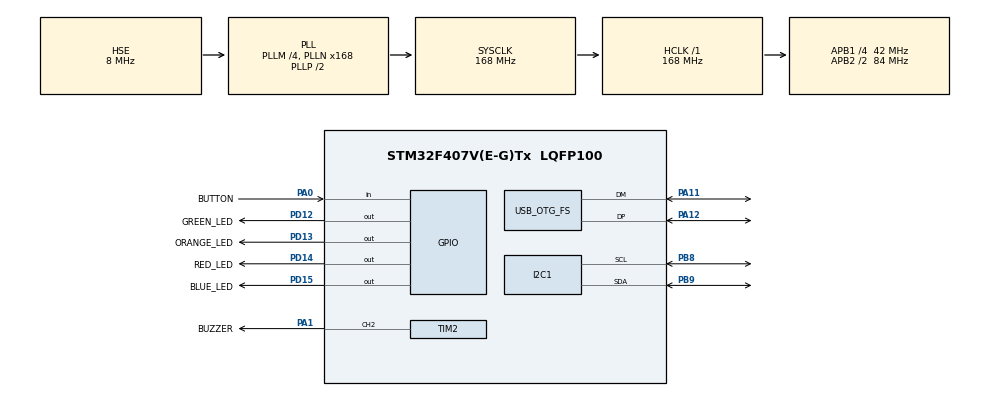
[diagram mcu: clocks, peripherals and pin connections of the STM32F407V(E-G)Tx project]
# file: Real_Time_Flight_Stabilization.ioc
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Mcu.Family=STM32F4
Mcu.Name=STM32F407V(E-G)Tx
Mcu.Package=LQFP100
NVIC.OTG_FS_IRQn=true\:0\:0\:false\:false\:true\:false\:true\:true
NVIC.PriorityGroup=NVIC_PRIORITYGROUP_0
NVIC.RCC_IRQn=true\:0\:0\:false\:false\:true\:true\:false\:true
NVIC.TIM6_DAC_IRQn=true\:0\:0\:false\:false\:true\:true\:true\:true
PA0-WKUP.GPIO_Label=BUTTON
PA0-WKUP.Signal=GPIO_Input
PA1.GPIO_Label=BUZZER
PA1.Signal=S_TIM2_CH2
PA11.Mode=Device_Only
PA11.Signal=USB_OTG_FS_DM
PA12.Mode=Device_Only
PA12.Signal=USB_OTG_FS_DP
PA13.GPIO_Label=SWDIO
PA13.Mode=Serial_Wire
PA13.Signal=SYS_JTMS-SWDIO
PA14.GPIO_Label=SWCLK
PA14.Mode=Serial_Wire
PA14.Signal=SYS_JTCK-SWCLK
PB8.Mode=I2C
PB8.Signal=I2C1_SCL
PB9.Mode=I2C
PB9.Signal=I2C1_SDA
PD12.GPIO_Label=GREEN_LED
PD12.Signal=GPIO_Output
PD13.GPIO_Label=ORANGE_LED
PD13.Signal=GPIO_Output
PD14.GPIO_Label=RED_LED
PD14.Signal=GPIO_Output
PD15.GPIO_Label=BLUE_LED
PD15.Signal=GPIO_Output
PH0-OSC_IN.GPIO_Label=OSC_IN
PH0-OSC_IN.Mode=HSE-External-Oscillator
PH0-OSC_IN.Signal=RCC_OSC_IN
PH1-OSC_OUT.GPIO_Label=OSC_OUT
PH1-OSC_OUT.Mode=HSE-External-Oscillator
PH1-OSC_OUT.Signal=RCC_OSC_OUT
ProjectManager.HeapSize=0x200
ProjectManager.StackSize=0x400
ProjectManager.TargetToolchain=STM32CubeIDE
RCC.48MHZClocksFreq_Value=48000000
RCC.AHBFreq_Value=168000000
RCC.APB1CLKDivider=RCC_HCLK_DIV4
RCC.APB1Freq_Value=42000000
RCC.APB1TimFreq_Value=84000000
RCC.APB2CLKDivider=RCC_HCLK_DIV2
RCC.APB2Freq_Value=84000000
RCC.APB2TimFreq_Value=168000000
RCC.CortexFreq_Value=168000000
RCC.HCLKFreq_Value=168000000
RCC.HSE_VALUE=8000000
RCC.HSI_VALUE=16000000
RCC.LSE_VALUE=32768
RCC.PLLM=4
RCC.PLLN=168
RCC.PLLQ=7
RCC.SYSCLKFreq_VALUE=168000000
RCC.SYSCLKSource=RCC_SYSCLKSOURCE_PLLCLK
RCC.VCOOutputFreq_Value=336000000
SH.S_TIM2_CH2.0=TIM2_CH2,PWM Generation2 CH2
TIM2.Channel-PWM\ Generation2\ CH2=TIM_CHANNEL_2
TIM2.Period=1000
TIM2.Pulse-PWM\ Generation2\ CH2=500
TIM6.Period=167
USB_DEVICE.CLASS_NAME_FS=CDC
USB_DEVICE.PRODUCT_STRING_CDC_FS=x-IMU3
USB_DEVICE.VirtualMode-CDC_FS=Cdc
USB_DEVICE.VirtualModeFS=Cdc_FS
USB_OTG_FS.VirtualMode=Device_Only
VP_TIM6_VS_ClockSourceINT.Mode=Enable_Timer
VP_USB_DEVICE_VS_USB_DEVICE_CDC_FS.Mode=CDC_FS
board=custom

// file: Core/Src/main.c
/* USER CODE BEGIN Header */
/**
  ******************************************************************************
  * @file           : main.c
  * @brief          : Main program body
  ******************************************************************************
  * @attention
  *
  * Copyright (c) 2025 STMicroelectronics.
  * All rights reserved.
  *
  * This software is licensed under terms that can be found in the LICENSE file
  * in the root directory of this software component.
  * If no LICENSE file comes with this software, it is provided AS-IS.
  *
  ******************************************************************************
  */
/* USER CODE END Header */
#include "main.h"
#include "usb_device.h"

/* USER CODE BEGIN Includes */

/* @brief standard c libraries */
#include <string.h>
#include <stdio.h>

/* @brief sensor libraries */
#include "bmi160_port.h"
#include "bmi160.h"
#include "bmp3.h"
#include "bmp3_selftest.h"
#include "bmp388_port.h"
#include "hmc5883l.h"

/* @brief controller libraries */
#include "pid.h"

/* @brief quadcopter model libraries */
#include "rtwtypes.h"
#include "QuadcopterModel.h"

/* @brief state estimation for quadcopter attitude libraries */
#include "complementary.h"
#include "MadgwickAHRS.h"
#include "KalmanFilter1D.h"

/* @brief hal libraries */
#include "usbd_cdc_if.h"

/* @brief digital filter libraries */
#include "RCFilter.h"
#include "FIRFilter.h"

/* @brief real time kernel libraries */
#include "FreeRTOS.h"
#include "task.h"
#include "task_handles.h"

/* USER CODE END Includes */

/* USER CODE BEGIN PD */
#define ALPHA					( ( double )( 0.98f ) )
#define DEGREES_TO_RADIAN		(( double )((M_PI / 180.0f)))
#define RADIAN_TO_DEGREES		(( double )((180.0f / M_PI)))
/* USER CODE END PD */

I2C_HandleTypeDef hi2c1;

TIM_HandleTypeDef htim2;
TIM_HandleTypeDef htim6;

/* USER CODE BEGIN PV */
struct bmi160_dev bmi160={0};													/*! 	@brief variable to hold the bmi160 main data 		*/
struct bmp3_dev bmp388={0};													/*! 	@brief variable to hold the bmp388 main data 		*/
struct bmp388_interface bmp388_intf = {&htim6,&hi2c1,BMP388_DEV_ADDR};			/*! 	@brief variable to hold the bmp388 interface 		*/
struct hmc5883l_dev hmc5883l = {0};
struct hmc5883l_interface hmc5883l_intf = {&hi2c1};
double first_altitude = 0.0f ,last_altitude = 0.0f , altitude = 0.0f , filtered_altitude = 0.0f;
uint8_t key = 1U;

struct bmp3_status status = { { 0 } };
int8_t rslt = 0U;
/* USER CODE END PV */

void SystemClock_Config(void);
static void MX_GPIO_Init(void);
static void MX_I2C1_Init(void);
static void MX_TIM6_Init(void);
static void MX_TIM2_Init(void);

/* USER CODE BEGIN 0 */
char usb_msg[200] = {0};
float filtered_ax_f=0.0f,filtered_ay_f=0.0f,filtered_az_f=0.0f,filtered_gx_f=0.0f,filtered_gy_f=0.0f,filtered_gz_f=0.0f;
float ax_f = 0.0f,ay_f = 0.0f,az_f = 0.0f,gx_f = 0.0,gy_f = 0.0f,gz_f = 0.0f;
float gx_f_rad=0.0f,gy_f_rad=0.0f,gz_f_rad=0.0f;
float roll=0.0f,pitch=0.0f,yaw=0.0f;

// Zaman adımı (örneğin 0.01s = 100 Hz)
#define DT 0.01f
#define RAD_TO_DEG 57.2957795f

typedef struct
{
    float angle;       // Açının kendisi
    float bias;        // Jiroskop bias'ı
    float rate;        // Ölçülen jiroskop değeri

    float P[2][2];     // Hata kovaryans matrisi
    float Q_angle;     // Açı için proses gürültüsü kovaryansı
    float Q_bias;      // Bias için proses gürültüsü kovaryansı
    float R_measure;   // Ölçüm gürültüsü kovaryansı

} Kalman_t;

Kalman_t kalmanRoll, kalmanPitch;

RCFilter roll_lowpass,pitch_lowpass;

// Kalman filtresini başlat
void Kalman_Init(Kalman_t *k) {
    k->angle = 0.0f;
    k->bias = 0.0f;
    k->P[0][0] = 0.0f;
    k->P[0][1] = 0.0f;
    k->P[1][0] = 0.0f;
    k->P[1][1] = 0.0f;
    k->Q_angle = 0.001f;
    k->Q_bias = 0.003f;
    k->R_measure = 0.03f;
}

// Kalman filtre güncellemesi
float Kalman_Update(Kalman_t *k, float newAngle, float newRate, float dt) {
    // Prediction
    k->rate = newRate - k->bias;
    k->angle += dt * k->rate;

    // Update error covariance matrix
    k->P[0][0] += dt * (dt * k->P[1][1] - k->P[0][1] - k->P[1][0] + k->Q_angle);
    k->P[0][1] -= dt * k->P[1][1];
    k->P[1][0] -= dt * k->P[1][1];
    k->P[1][1] += k->Q_bias * dt;

    // Innovation
    float y = newAngle - k->angle;
    float S = k->P[0][0] + k->R_measure;
    float K[2];
    K[0] = k->P[0][0] / S;
    K[1] = k->P[1][0] / S;

    // Update estimates
    k->angle += K[0] * y;
    k->bias += K[1] * y;

    // Update error covariance matrix
    float P00_temp = k->P[0][0];
    float P01_temp = k->P[0][1];

    k->P[0][0] -= K[0] * P00_temp;
    k->P[0][1] -= K[0] * P01_temp;
    k->P[1][0] -= K[1] * P00_temp;
    k->P[1][1] -= K[1] * P01_temp;

    return k->angle;
}

// Her döngüde sensör verilerini oku ve açıları hesapla
void IMU_Update(float accX, float accY, float accZ, float gyroX, float gyroY, float gyroZ,
                float* roll, float* pitch, float* yaw) {
    // Accelerometer'dan açı tahmini (trigonometrik yöntem)
    float accRoll  = atan2f(accY, accZ) * RAD_TO_DEG;
    float accPitch = atan2f(-accX, sqrtf(accY * accY + accZ * accZ)) * RAD_TO_DEG;

    // Kalman filtresi ile açı hesaplama
    *roll  = Kalman_Update(&kalmanRoll, accRoll,  gyroX, DT);
    *pitch = Kalman_Update(&kalmanPitch, accPitch, gyroY, DT);

    // Yaw sadece jiroskoptan entegre edilir (drift olabilir)
    *yaw += gyroZ * DT;
}

/* USER CODE END 0 */

int main(void)
{

  /* MCU Configuration--------------------------------------------------------*/

  /* Reset of all peripherals, Initializes the Flash interface and the Systick. */
  HAL_Init();

  /* Configure the system clock */
  SystemClock_Config();

  /* Initialize all configured peripherals */
  MX_GPIO_Init();
  MX_I2C1_Init();
  MX_TIM6_Init();
  MX_USB_DEVICE_Init();
  MX_TIM2_Init();
  /* USER CODE BEGIN 2 */

  /*!< Initialise bmi160 sensor >!*/
  if ( bmi160_interface_init(&bmi160) != BMI160_OK)
  {
	  printf("BMI160 not initialised !\n");
	  Error_Handler();
  }

  /*!< Calibration process for bmi160 sensor >!*/
  if ( bmi160_calibration(&bmi160,3000U) != BMI160_OK)
  {
	  printf("BMI160 not initialised !\n");
	  Error_Handler();
  }

  /*!< Initialise bmp388 sensor >!*/
  if ( bmp388_interface_init(&bmp388, &bmp388_intf) != BMP3_OK )
  {
	  Error_Handler();
  }

  /*!< Calibration process for bmp388 sensor >!*/
  if ( bmp388_calibration(&bmp388, 1000U) != BMP3_OK )
  {
	  Error_Handler();
  }

  /*!< Initialise for IMU Kalman Filter  >!*/
  Kalman_Init(&kalmanRoll);
  Kalman_Init(&kalmanPitch);

  /*!< Low-pass filter for IMU raw gyro and acc data  >!*/
  RCFilter_Init(&roll_lowpass, 5.0f,0.02f);
  RCFilter_Init(&pitch_lowpass, 5.0f,0.02f);

  /* USER CODE END 2 */

  /* Infinite loop */
  /* USER CODE BEGIN WHILE */
  while (1)
  {
	  /*!< Get calibrated data for bmi160 sensor >!*/
	  if ( bmi160_get_acc_gyro(&bmi160) != BMI160_OK)
	  {
		  printf("BMI160 isnt get data !\n");
		  Error_Handler();
	  }

	  /*!< Get calibrated data for bmp388 sensor >!*/
	  if ( bmp388_get_altitude(&bmp388, ALPHA) != BMP3_OK )
	  {
		  printf("BMP388 isnt get data !\n");
		  Error_Handler();
	  }

	  /*!< Convert int16_t to float data types >!*/
	  ax_f = bmi160.accel_data.xd;
	  ay_f = bmi160.accel_data.yd;
	  az_f = bmi160.accel_data.zd;
	  gx_f = bmi160.gyro_data.xd;
	  gy_f = bmi160.gyro_data.yd;
	  gz_f = bmi160.gyro_data.zd;

	  /*!< First-order simple low-pass low-pass filter applied to 3-axis accelerometer data >!*/
	  filtered_ax_f = ALPHA * filtered_ax_f + (1 - ALPHA) * (bmi160.accel_data.xd);
	  filtered_ay_f = ALPHA * filtered_ay_f + (1 - ALPHA) * (bmi160.accel_data.yd);
	  filtered_az_f = ALPHA * filtered_az_f + (1 - ALPHA) * (bmi160.accel_data.zd);

	  /*!< First-order simple low-pass low-pass filter applied to 3-axis gyroscope data >!*/
	  filtered_gx_f = ALPHA * filtered_gx_f + (1 - ALPHA) * (bmi160.gyro_data.xd);
	  filtered_gy_f = ALPHA * filtered_gy_f + (1 - ALPHA) * (bmi160.gyro_data.yd);
	  filtered_gz_f = ALPHA * filtered_gz_f + (1 - ALPHA) * (bmi160.gyro_data.zd);

	  /*!< (°/s) data converted to (rad/s) for angular velocity >!*/
	  gx_f_rad = filtered_gx_f * DEGREES_TO_RADIAN;
	  gy_f_rad = filtered_gy_f * DEGREES_TO_RADIAN;
	  gz_f_rad = filtered_gz_f * DEGREES_TO_RADIAN;

	  /*!< IMU kalman >!*/
	  IMU_Update(filtered_ax_f/9.81f, filtered_ay_f/9.81f, filtered_az_f/9.81f,\
			  	  	  gx_f_rad, gy_f_rad, gz_f_rad, &roll, &pitch, &yaw);

	  /*!< Fixed frame +x position [0,90] >!*/
	  if ( ( pitch >= 80.0f ) && ( pitch <= 90.0f ) )
	  {
		  pitch = 0.0f;
		  roll = 0.0f;
		  yaw = 0.0f;
	  }

	  /*!< Fixed frame -x position [0,-90] >!*/
	  if ( ( pitch <= -80.0f ) && ( pitch >= -90.0f ) )
	  {
		  pitch = 0.0f;
		  roll = 0.0f;
		  yaw = 0.0f;
	  }

	  //sprintf(usb_msg,"%f,%f,%f,%f,%f,%f\r\n",ax_f,ay_f,az_f,filtered_ax_f,filtered_ay_f,filtered_az_f);
	  //sprintf(usb_msg,"%f,%f,%f,%f,%f,%f\r\n",gx_f,gy_f,gz_f,filtered_gx_f,filtered_gy_f,filtered_gz_f);

	  //sprintf(usb_msg,"%f,%f,%f,%f,%f,%f\r\n",ax_f,ay_f,az_f,filtered_ax_f,filtered_ay_f,filtered_az_f);
	  //sprintf(usb_msg,"%f,%f,%f,%f,%f,%f\r\n",gx_f,gy_f,gz_f,filtered_gx_f,filtered_gy_f,filtered_gz_f);
      sprintf(usb_msg,"%f,%f\r\n",roll,pitch);
	  //sprintf(usb_msg,"%f,%f,%f,%f\r\n",q0,q1,q2,q3);
      //sprintf(usb_msg,"Orientation: %.2f %.2f %.2f\r\n",-roll,pitch,yaw);
      CDC_Transmit_FS((uint8_t*)usb_msg,strlen(usb_msg));

    /* USER CODE END WHILE */

  }
}

void SystemClock_Config(void)
{
  RCC_OscInitTypeDef RCC_OscInitStruct = {0};
  RCC_ClkInitTypeDef RCC_ClkInitStruct = {0};

  /** Configure the main internal regulator output voltage
  */
  __HAL_RCC_PWR_CLK_ENABLE();
  __HAL_PWR_VOLTAGESCALING_CONFIG(PWR_REGULATOR_VOLTAGE_SCALE1);

  /** Initializes the RCC Oscillators according to the specified parameters
  * in the RCC_OscInitTypeDef structure.
  */
  RCC_OscInitStruct.OscillatorType = RCC_OSCILLATORTYPE_HSE;
  RCC_OscInitStruct.HSEState = RCC_HSE_ON;
  RCC_OscInitStruct.PLL.PLLState = RCC_PLL_ON;
  RCC_OscInitStruct.PLL.PLLSource = RCC_PLLSOURCE_HSE;
  RCC_OscInitStruct.PLL.PLLM = 4;
  RCC_OscInitStruct.PLL.PLLN = 168;
  RCC_OscInitStruct.PLL.PLLP = RCC_PLLP_DIV2;
  RCC_OscInitStruct.PLL.PLLQ = 7;
  if (HAL_RCC_OscConfig(&RCC_OscInitStruct) != HAL_OK)
  {
    Error_Handler();
  }

  /** Initializes the CPU, AHB and APB buses clocks
  */
  RCC_ClkInitStruct.ClockType = RCC_CLOCKTYPE_HCLK|RCC_CLOCKTYPE_SYSCLK
                              |RCC_CLOCKTYPE_PCLK1|RCC_CLOCKTYPE_PCLK2;
  RCC_ClkInitStruct.SYSCLKSource = RCC_SYSCLKSOURCE_PLLCLK;
  RCC_ClkInitStruct.AHBCLKDivider = RCC_SYSCLK_DIV1;
  RCC_ClkInitStruct.APB1CLKDivider = RCC_HCLK_DIV4;
  RCC_ClkInitStruct.APB2CLKDivider = RCC_HCLK_DIV2;

  if (HAL_RCC_ClockConfig(&RCC_ClkInitStruct, FLASH_LATENCY_5) != HAL_OK)
  {
    Error_Handler();
  }
}

static void MX_I2C1_Init(void)
{

  hi2c1.Instance = I2C1;
  hi2c1.Init.ClockSpeed = 100000;
  hi2c1.Init.DutyCycle = I2C_DUTYCYCLE_2;
  hi2c1.Init.OwnAddress1 = 0;
  hi2c1.Init.AddressingMode = I2C_ADDRESSINGMODE_7BIT;
  hi2c1.Init.DualAddressMode = I2C_DUALADDRESS_DISABLE;
  hi2c1.Init.OwnAddress2 = 0;
  hi2c1.Init.GeneralCallMode = I2C_GENERALCALL_DISABLE;
  hi2c1.Init.NoStretchMode = I2C_NOSTRETCH_DISABLE;
  if (HAL_I2C_Init(&hi2c1) != HAL_OK)
  {
    Error_Handler();
  }

}

static void MX_TIM2_Init(void)
{

  TIM_MasterConfigTypeDef sMasterConfig = {0};
  TIM_OC_InitTypeDef sConfigOC = {0};

  htim2.Instance = TIM2;
  htim2.Init.Prescaler = 0;
  htim2.Init.CounterMode = TIM_COUNTERMODE_UP;
  htim2.Init.Period = 1000;
  htim2.Init.ClockDivision = TIM_CLOCKDIVISION_DIV1;
  htim2.Init.AutoReloadPreload = TIM_AUTORELOAD_PRELOAD_DISABLE;
  if (HAL_TIM_PWM_Init(&htim2) != HAL_OK)
  {
    Error_Handler();
  }
  sMasterConfig.MasterOutputTrigger = TIM_TRGO_RESET;
  sMasterConfig.MasterSlaveMode = TIM_MASTERSLAVEMODE_DISABLE;
  if (HAL_TIMEx_MasterConfigSynchronization(&htim2, &sMasterConfig) != HAL_OK)
  {
    Error_Handler();
  }
  sConfigOC.OCMode = TIM_OCMODE_PWM1;
  sConfigOC.Pulse = 500;
  sConfigOC.OCPolarity = TIM_OCPOLARITY_HIGH;
  sConfigOC.OCFastMode = TIM_OCFAST_DISABLE;
  if (HAL_TIM_PWM_ConfigChannel(&htim2, &sConfigOC, TIM_CHANNEL_2) != HAL_OK)
  {
    Error_Handler();
  }
  HAL_TIM_MspPostInit(&htim2);

}

static void MX_TIM6_Init(void)
{

  TIM_MasterConfigTypeDef sMasterConfig = {0};

  htim6.Instance = TIM6;
  htim6.Init.Prescaler = 0;
  htim6.Init.CounterMode = TIM_COUNTERMODE_UP;
  htim6.Init.Period = 167;
  htim6.Init.AutoReloadPreload = TIM_AUTORELOAD_PRELOAD_DISABLE;
  if (HAL_TIM_Base_Init(&htim6) != HAL_OK)
  {
    Error_Handler();
  }
  sMasterConfig.MasterOutputTrigger = TIM_TRGO_RESET;
  sMasterConfig.MasterSlaveMode = TIM_MASTERSLAVEMODE_DISABLE;
  if (HAL_TIMEx_MasterConfigSynchronization(&htim6, &sMasterConfig) != HAL_OK)
  {
    Error_Handler();
  }

}

static void MX_GPIO_Init(void)
{
  GPIO_InitTypeDef GPIO_InitStruct = {0};

  /* GPIO Ports Clock Enable */
  __HAL_RCC_GPIOH_CLK_ENABLE();
  __HAL_RCC_GPIOA_CLK_ENABLE();
  __HAL_RCC_GPIOD_CLK_ENABLE();
  __HAL_RCC_GPIOB_CLK_ENABLE();

  /*Configure GPIO pin Output Level */
  HAL_GPIO_WritePin(GPIOD, GREEN_LED_Pin|ORANGE_LED_Pin|RED_LED_Pin|BLUE_LED_Pin, GPIO_PIN_RESET);

  /*Configure GPIO pin : BUTTON_Pin */
  GPIO_InitStruct.Pin = BUTTON_Pin;
  GPIO_InitStruct.Mode = GPIO_MODE_INPUT;
  GPIO_InitStruct.Pull = GPIO_NOPULL;
  HAL_GPIO_Init(BUTTON_GPIO_Port, &GPIO_InitStruct);

  /*Configure GPIO pins : GREEN_LED_Pin ORANGE_LED_Pin RED_LED_Pin BLUE_LED_Pin */
  GPIO_InitStruct.Pin = GREEN_LED_Pin|ORANGE_LED_Pin|RED_LED_Pin|BLUE_LED_Pin;
  GPIO_InitStruct.Mode = GPIO_MODE_OUTPUT_PP;
  GPIO_InitStruct.Pull = GPIO_NOPULL;
  GPIO_InitStruct.Speed = GPIO_SPEED_FREQ_LOW;
  HAL_GPIO_Init(GPIOD, &GPIO_InitStruct);

}

void Error_Handler(void)
{
  /* USER CODE BEGIN Error_Handler_Debug */
  /* User can add his own implementation to report the HAL error return state */
  HAL_GPIO_WritePin(RED_LED_GPIO_Port, RED_LED_Pin, 1U);
  __disable_irq();
  while (1)
  {
  }
  /* USER CODE END Error_Handler_Debug */
}
